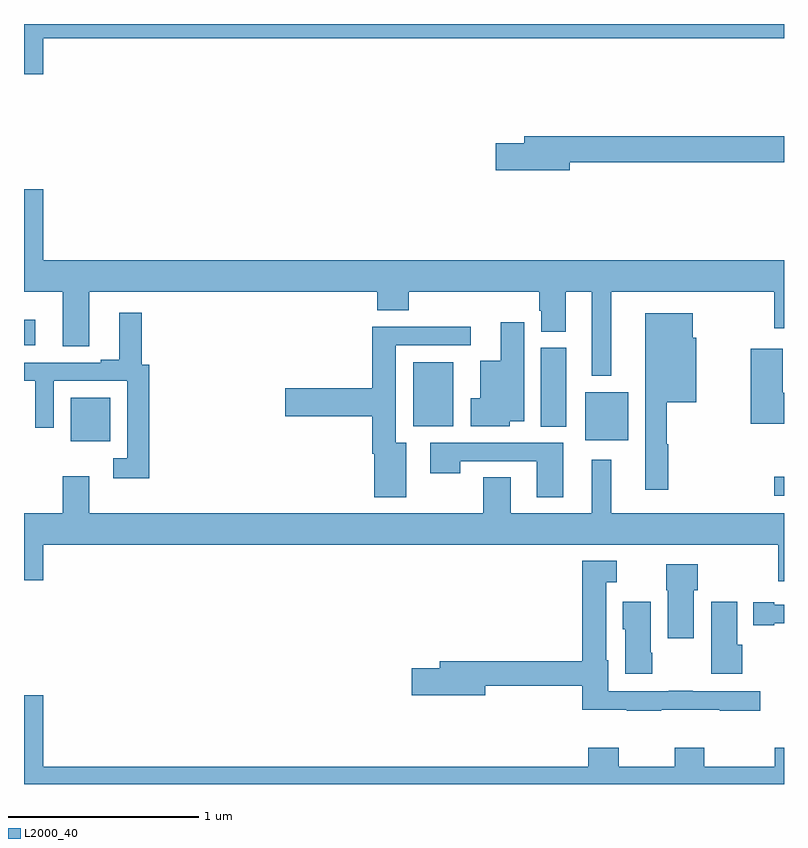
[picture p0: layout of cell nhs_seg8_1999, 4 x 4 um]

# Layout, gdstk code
import gdstk
lib = gdstk.Library(unit=1e-6, precision=1e-09)
def R(c, l, rs):  # rectangles x0, y0, x1, y1
    for r in rs: c.add(gdstk.rectangle(r[:2], r[2:], *l))
def P(c, l, *ps):  # polygons
    for p in ps: c.add(gdstk.Polygon(p, *l))
L2000_40 = (2000, 40)

nhs_seg8_1999 = lib.new_cell('nhs_seg8_1999')
R(nhs_seg8_1999, L2000_40, [(240.948,1123.416,241,1123.517), (237.245,1123.703,237.454,1123.933), (239.954,1123.709,240.181,1123.963), (239.72,1123.78,239.854,1124.196), (239.048,1123.784,239.26,1124.119), (237,1124.208,237.058,1124.344)])
P(nhs_seg8_1999, L2000_40, [(237.1,1125.824),(241,1125.824),(241,1125.9),(237,1125.9),(237,1125.636),(237.1,1125.636)],
  [(239.872,1125.172),(241,1125.172),(241,1125.308),(239.633,1125.308),(239.633,1125.272),(239.484,1125.272),(239.484,1125.13),(239.872,1125.13)],
  [(240.091,1124.492),(240.949,1124.492),(240.949,1124.298),(241,1124.298),(241,1124.656),(237.1,1124.656),(237.1,1125.031),(237,1125.031),(237,1124.492),(237.203,1124.492),(237.203,1124.203),(237.343,1124.203),(237.343,1124.492),(238.859,1124.492),(238.859,1124.393),(239.024,1124.393),(239.024,1124.492),(239.711,1124.492),(239.711,1124.391),(239.723,1124.391),(239.723,1124.281),(239.851,1124.281),(239.851,1124.492),(239.987,1124.492),(239.987,1124.048),(240.091,1124.048)],
  [(237.659,1124.106),(237.619,1124.106),(237.619,1124.38),(237.5,1124.38),(237.5,1124.133),(237.404,1124.133),(237.404,1124.118),(237,1124.118),(237,1124.022),(237.06,1124.022),(237.06,1123.776),(237.156,1123.776),(237.156,1124.022),(237.543,1124.022),(237.543,1123.614),(237.471,1123.614),(237.471,1123.509),(237.659,1123.509)],
  [(240.391,1123.688),(240.383,1123.688),(240.383,1123.91),(240.538,1123.91),(240.538,1124.25),(240.52,1124.25),(240.52,1124.377),(240.269,1124.377),(240.269,1123.449),(240.391,1123.449)],
  [(239.556,1123.808),(239.632,1123.808),(239.632,1124.329),(239.51,1124.329),(239.51,1124.128),(239.402,1124.128),(239.402,1123.93),(239.351,1123.93),(239.351,1123.784),(239.556,1123.784)],
  [(239.011,1123.696),(238.957,1123.696),(238.957,1124.208),(239.35,1124.208),(239.35,1124.306),(238.832,1124.306),(238.832,1123.982),(238.374,1123.982),(238.374,1123.835),(238.832,1123.835),(238.832,1123.637),(238.844,1123.637),(238.844,1123.41),(239.011,1123.41)],
  [(241,1123.959),(240.994,1123.959),(240.994,1124.191),(240.824,1124.191),(240.824,1123.796),(241,1123.796)],
  [(239.839,1123.695),(239.139,1123.695),(239.139,1123.536),(239.295,1123.536),(239.295,1123.599),(239.699,1123.599),(239.699,1123.41),(239.839,1123.41)],
  [(241,1123.324),(240.091,1123.324),(240.091,1123.606),(239.987,1123.606),(239.987,1123.324),(239.563,1123.324),(239.563,1123.514),(239.416,1123.514),(239.416,1123.324),(237.343,1123.324),(237.343,1123.519),(237.203,1123.519),(237.203,1123.324),(237,1123.324),(237,1122.972),(237.1,1122.972),(237.1,1123.16),(240.97,1123.16),(240.97,1122.966),(241,1122.966)],
  [(240.355,1122.29),(240.661,1122.29),(240.661,1122.286),(240.874,1122.286),(240.874,1122.387),(240.521,1122.387),(240.521,1122.392),(240.394,1122.392),(240.394,1122.387),(240.076,1122.387),(240.076,1122.552),(240.064,1122.552),(240.064,1122.962),(240.121,1122.962),(240.121,1123.075),(239.939,1123.075),(239.939,1122.545),(239.189,1122.545),(239.189,1122.509),(239.04,1122.509),(239.04,1122.367),(239.428,1122.367),(239.428,1122.417),(239.939,1122.417),(239.939,1122.29),(240.172,1122.29),(240.172,1122.286),(240.355,1122.286)],
  [(240.526,1122.921),(240.546,1122.921),(240.546,1123.057),(240.38,1123.057),(240.38,1122.921),(240.389,1122.921),(240.389,1122.666),(240.526,1122.666)],
  [(240.781,1122.633),(240.754,1122.633),(240.754,1122.859),(240.617,1122.859),(240.617,1122.479),(240.781,1122.479)],
  [(240.306,1122.592),(240.298,1122.592),(240.298,1122.859),(240.152,1122.859),(240.152,1122.714),(240.164,1122.714),(240.164,1122.48),(240.306,1122.48)],
  [(240.949,1122.747),(241,1122.747),(241,1122.843),(240.949,1122.843),(240.949,1122.856),(240.839,1122.856),(240.839,1122.735),(240.949,1122.735)],
  [(241,1122.091),(240.952,1122.091),(240.952,1121.992),(240.579,1121.992),(240.579,1122.091),(240.424,1122.091),(240.424,1121.992),(240.129,1121.992),(240.129,1122.091),(239.969,1122.091),(239.969,1121.992),(237.1,1121.992),(237.1,1122.367),(237,1122.367),(237,1121.9),(241,1121.9)])

lib.write_gds('nhs_seg8_1999.gds')
